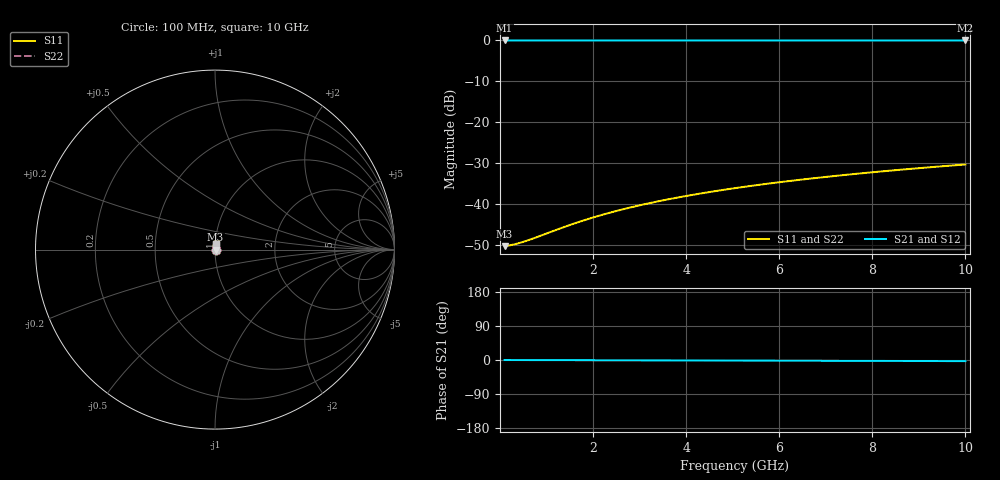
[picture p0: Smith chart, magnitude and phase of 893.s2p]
# Hz S RI R 50.00
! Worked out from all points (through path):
!   100 points, 100 MHz to 10 GHz, reference 50 ohm
!   highest |S21| = -0.03 dB at 100 MHz (marker M1); lowest = 0.0 dB at 10 GHz (marker M2)
!   lowest |S11| = -50.3 dB at 100 MHz (marker M3), VSWR 1.01, Z = 50.3 + j0.0302 ohm
!   |S11| at or under -10 dB: start of sweep to end of sweep
!   |S22| runs from -50.3 to -30.4 dB; largest |S21 - S12| = 0
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1e8  0.00302 0.0003  0.997 -0.000518  0.997 -0.000518  0.00302 0.0003
2e8  0.00304 0.0006  0.997 -0.00104  0.997 -0.00104  0.00304 0.0006
3e8  0.00306 0.0009  0.9969 -0.00155  0.9969 -0.00155  0.00306 0.0009
4e8  0.00307 0.0012  0.9969 -0.00207  0.9969 -0.00207  0.00307 0.0012
5e8  0.00308 0.0015  0.9969 -0.00259  0.9969 -0.00259  0.00308 0.0015
7e8  0.0031 0.0021  0.9969 -0.00362  0.9969 -0.00362  0.0031 0.0021
1.4e9  0.00317 0.0042  0.9968 -0.00725  0.9968 -0.00725  0.00317 0.0042
1.8e9  0.00321 0.0054  0.9968 -0.00932  0.9968 -0.00932  0.00321 0.0054
2.2e9  0.00325 0.0066  0.9967 -0.0114  0.9967 -0.0114  0.00325 0.0066
2.6e9  0.00329 0.0078  0.9967 -0.0135  0.9967 -0.0135  0.00329 0.0078
3e9  0.00334 0.009  0.9966 -0.0155  0.9966 -0.0155  0.00334 0.009
3.4e9  0.00339 0.0102  0.9966 -0.0176  0.9966 -0.0176  0.00339 0.0102
3.8e9  0.00344 0.0114  0.9965 -0.0197  0.9965 -0.0197  0.00344 0.0114
4.2e9  0.0035 0.0126  0.9964 -0.0217  0.9964 -0.0217  0.0035 0.0126
4.6e9  0.00357 0.0138  0.9964 -0.0238  0.9964 -0.0238  0.00357 0.0138
5.1e9  0.00365 0.0153  0.9963 -0.0264  0.9963 -0.0264  0.00365 0.0153
5.9e9  0.00381 0.0177  0.9961 -0.0305  0.9961 -0.0305  0.00381 0.0177
6.7e9  0.00398 0.0201  0.9959 -0.0347  0.9959 -0.0347  0.00398 0.0201
7.5e9  0.00418 0.0225  0.9957 -0.0388  0.9957 -0.0388  0.00418 0.0225
8.4e9  0.00442 0.0252  0.9954 -0.0434  0.9954 -0.0434  0.00442 0.0252
9.2e9  0.00466 0.0275  0.9951 -0.0476  0.9951 -0.0476  0.00466 0.0275
1e10  0.00491 0.0299  0.9948 -0.0517  0.9948 -0.0517  0.00491 0.0299
